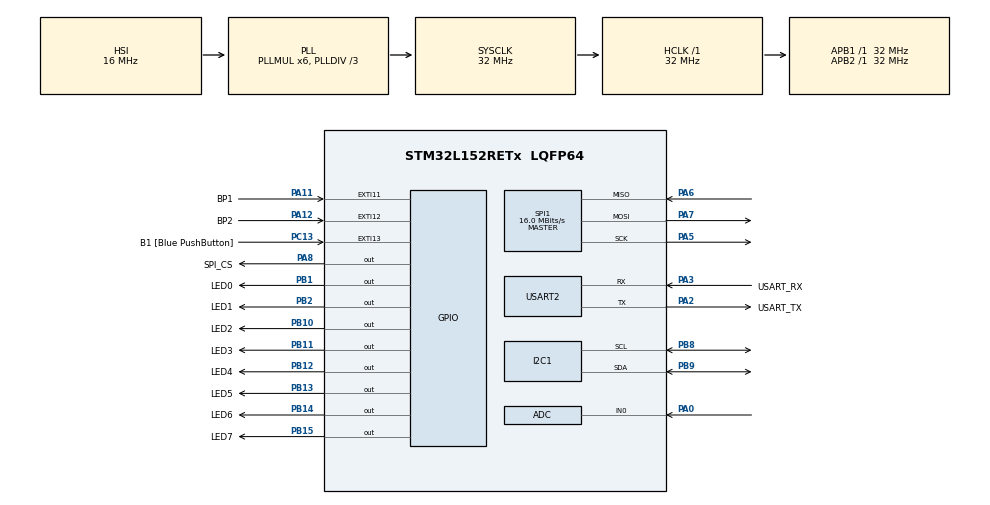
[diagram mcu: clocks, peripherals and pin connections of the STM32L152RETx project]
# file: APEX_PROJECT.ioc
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ADC.Channel-0\#ChannelRegularConversion=ADC_CHANNEL_0
ADC.EOCSelection=ADC_EOC_SINGLE_CONV
ADC.NbrOfConversionFlag=1
ADC.Rank-0\#ChannelRegularConversion=1
ADC.SamplingTime-0\#ChannelRegularConversion=ADC_SAMPLETIME_4CYCLES
Mcu.Family=STM32L1
Mcu.Name=STM32L152RETx
Mcu.Package=LQFP64
NVIC.EXTI15_10_IRQn=true\:0\:0\:false\:false\:true\:true\:true\:true
NVIC.PriorityGroup=NVIC_PRIORITYGROUP_0
NVIC.TIM6_IRQn=true\:0\:0\:false\:false\:true\:true\:true\:true
PA0-WKUP1.Mode=IN0
PA0-WKUP1.Signal=ADC_IN0
PA11.GPIO_Label=BP1
PA11.GPIO_ModeDefaultEXTI=GPIO_MODE_IT_RISING
PA11.Signal=GPXTI11
PA12.GPIO_Label=BP2
PA12.GPIO_ModeDefaultEXTI=GPIO_MODE_IT_RISING
PA12.GPIO_PuPd=GPIO_NOPULL
PA12.Signal=GPXTI12
PA13.GPIO_Label=TMS
PA13.Mode=Serial_Wire
PA13.Signal=SYS_JTMS-SWDIO
PA14.GPIO_Label=TCK
PA14.Mode=Serial_Wire
PA14.Signal=SYS_JTCK-SWCLK
PA2.GPIO_Label=USART_TX
PA2.Mode=Asynchronous
PA2.Signal=USART2_TX
PA3.GPIO_Label=USART_RX
PA3.Mode=Asynchronous
PA3.Signal=USART2_RX
PA5.Mode=Full_Duplex_Master
PA5.Signal=SPI1_SCK
PA6.Mode=Full_Duplex_Master
PA6.Signal=SPI1_MISO
PA7.Mode=Full_Duplex_Master
PA7.Signal=SPI1_MOSI
PA8.GPIO_Label=SPI_CS
PA8.GPIO_PuPd=GPIO_PULLUP
PA8.Signal=GPIO_Output
PB1.GPIO_Label=LED0
PB1.Signal=GPIO_Output
PB10.GPIO_Label=LED2
PB10.Signal=GPIO_Output
PB11.GPIO_Label=LED3
PB11.Signal=GPIO_Output
PB12.GPIO_Label=LED4
PB12.Signal=GPIO_Output
PB13.GPIO_Label=LED5
PB13.Signal=GPIO_Output
PB14.GPIO_Label=LED6
PB14.Signal=GPIO_Output
PB15.GPIO_Label=LED7
PB15.Signal=GPIO_Output
PB2.GPIO_Label=LED1
PB2.Signal=GPIO_Output
PB3.GPIO_Label=SWO
PB3.Signal=SYS_JTDO-TRACESWO
PB8.Mode=I2C
PB8.Signal=I2C1_SCL
PB9.Mode=I2C
PB9.Signal=I2C1_SDA
PC13-WKUP2.GPIO_Label=B1 [Blue PushButton]
PC13-WKUP2.GPIO_PuPd=GPIO_PULLUP
PC13-WKUP2.Signal=GPXTI13
PC14-OSC32_IN.Mode=LSE-External-Oscillator
PC14-OSC32_IN.Signal=RCC_OSC32_IN
PC15-OSC32_OUT.Mode=LSE-External-Oscillator
PC15-OSC32_OUT.Signal=RCC_OSC32_OUT
PH0-OSC_IN.Signal=RCC_OSC_IN
PH1-OSC_OUT.Signal=RCC_OSC_OUT
ProjectManager.HeapSize=0x200
ProjectManager.StackSize=0x400
ProjectManager.TargetToolchain=STM32CubeIDE
RCC.48MHZClocksFreq_Value=48000000
RCC.AHBFreq_Value=32000000
RCC.APB1Freq_Value=32000000
RCC.APB1TimFreq_Value=32000000
RCC.APB2Freq_Value=32000000
RCC.APB2TimFreq_Value=32000000
RCC.HCLKFreq_Value=32000000
RCC.HSE_VALUE=8000000
RCC.HSI_VALUE=16000000
RCC.MSI_VALUE=2097000
RCC.PLLDIV=RCC_PLL_DIV3
RCC.PLLMUL=RCC_PLL_MUL6
RCC.RTCClockSelectionVirtual=RCC_RTCCLKSOURCE_LSE
RCC.SYSCLKFreq_VALUE=32000000
RCC.SYSCLKSource=RCC_SYSCLKSOURCE_PLLCLK
RCC.USBOutput=48000000
RCC.VCOOutputFreq_Value=96000000
SPI1.CalculateBaudRate=16.0 MBits/s
SPI1.Direction=SPI_DIRECTION_2LINES
SPI1.Mode=SPI_MODE_MASTER
SPI1.VirtualType=VM_MASTER
TIM6.Period=999
TIM6.Prescaler=31
USART2.VirtualMode=VM_ASYNC
VP_TIM6_VS_ClockSourceINT.Mode=Enable_Timer
board=NUCLEO-L152RE

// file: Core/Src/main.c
/* USER CODE BEGIN Header */
/**
  ******************************************************************************
  * @file           : main.c
  * @brief          : Main program body
  ******************************************************************************
  * @attention
  *
  * Copyright (c) 2026 STMicroelectronics.
  * All rights reserved.
  *
  * This software is licensed under terms that can be found in the LICENSE file
  * in the root directory of this software component.
  * If no LICENSE file comes with this software, it is provided AS-IS.
  *
  ******************************************************************************
  */
/* USER CODE END Header */
#include "main.h"

/* USER CODE BEGIN Includes */
#include <stdio.h>
#include <math.h>
#include "max7219_Yncrea2.h"

/* USER CODE END Includes */

/* USER CODE BEGIN PD */
/* LSM6DSO (accelerometre) - adresse I2C 8 bits (deja decalee pour HAL) */
#define LSM6DSO_ADDR      0xD6
#define LSM6DSO_CTRL1_XL  0x10   /* config accelero (ODR + plage) */
#define LSM6DSO_CTRL3_C   0x12   /* auto-increment registres */
#define LSM6DSO_OUTX_L_A  0x28   /* debut des 6 octets X/Y/Z */

/* HTS221 (humidite) - 2eme capteur du shield IKS01A3, adresse I2C 8 bits */
#define HTS221_ADDR       0xBE
#define HTS221_CTRL_REG1  0x20   /* power-on + ODR */
#define HTS221_H0_RH_X2   0x30   /* calibration : humidites de reference */
#define HTS221_H1_RH_X2   0x31
#define HTS221_H0_OUT_L   0x36   /* calibration : sorties brutes de reference */
#define HTS221_H1_OUT_L   0x3A
#define HTS221_HUM_OUT_L  0x28   /* mesure d'humidite brute */

/* Seuils de detection du saut (en mg, 1000 mg = 1 g) */
#define FREEFALL_MG     300   /* en dessous : chute libre (decollage) */
#define IMPACT_MG      1800   /* au dessus : impact (atterrissage) */
#define AIRTIME_MIN_MS   80   /* temps de vol minimum accepte */
#define AIRTIME_MAX_MS 2000   /* temps de vol maximum accepte */
#define GRAVITY_MG     1000
#define FF_CONFIRM_MS    15   /* duree mini sous le seuil pour valider la chute libre */
#define GOAL_MAX_CM      99   /* objectif quand le potentiometre est a fond */
/* USER CODE END PD */

ADC_HandleTypeDef hadc;

I2C_HandleTypeDef hi2c1;

SPI_HandleTypeDef hspi1;

TIM_HandleTypeDef htim6;

UART_HandleTypeDef huart2;

/* USER CODE BEGIN PV */
volatile AppState_t state   = APP_SETUP;   /* on demarre par le reglage de l'objectif */
volatile uint32_t   t_start = 0;           /* date du decollage (en ms, via tim_ms) */
volatile uint32_t   hang_time = 0;         /* temps passe en l'air (ms) */
uint16_t            goal_cm  = 20;         /* objectif de saut en cm (regle au potentiometre) */

/* USER CODE END PV */

void SystemClock_Config(void);
static void MX_GPIO_Init(void);
static void MX_ADC_Init(void);
static void MX_I2C1_Init(void);
static void MX_SPI1_Init(void);
static void MX_TIM6_Init(void);
static void MX_USART2_UART_Init(void);

/* USER CODE BEGIN 0 */
int __io_putchar(int ch) {
    HAL_UART_Transmit(&huart2, (uint8_t*)&ch, 1, 10);
    return ch;
}

/* Debloque le bus I2C si un capteur est reste coince apres un reset
   (SDA bloque a 0) : on envoie des coups d'horloge sur SCL jusqu'a ce
   qu'il relache la ligne, puis on reinitialise le peripherique I2C. */
static void I2C_BusRecover(void) {
    GPIO_InitTypeDef g = {0};
    __HAL_RCC_GPIOB_CLK_ENABLE();

    HAL_I2C_DeInit(&hi2c1);

    /* PB8/PB9 repris en GPIO open-drain le temps de la manoeuvre */
    g.Pin   = GPIO_PIN_8 | GPIO_PIN_9;
    g.Mode  = GPIO_MODE_OUTPUT_OD;
    g.Pull  = GPIO_PULLUP;
    g.Speed = GPIO_SPEED_FREQ_LOW;
    HAL_GPIO_Init(GPIOB, &g);
    HAL_GPIO_WritePin(GPIOB, GPIO_PIN_8 | GPIO_PIN_9, GPIO_PIN_SET);
    HAL_Delay(1);

    int sda = HAL_GPIO_ReadPin(GPIOB, GPIO_PIN_9);

    if (sda == 0) {
        /* jusqu'a 9 impulsions d'horloge pour liberer SDA */
        for (int i = 0; i < 9; i++) {
            HAL_GPIO_WritePin(GPIOB, GPIO_PIN_8, GPIO_PIN_RESET);
            HAL_Delay(1);
            HAL_GPIO_WritePin(GPIOB, GPIO_PIN_8, GPIO_PIN_SET);
            HAL_Delay(1);
            if (HAL_GPIO_ReadPin(GPIOB, GPIO_PIN_9) == 1) break;
        }
        /* condition de STOP pour finir proprement */
        HAL_GPIO_WritePin(GPIOB, GPIO_PIN_9, GPIO_PIN_RESET);
        HAL_Delay(1);
        HAL_GPIO_WritePin(GPIOB, GPIO_PIN_8, GPIO_PIN_SET);
        HAL_Delay(1);
        HAL_GPIO_WritePin(GPIOB, GPIO_PIN_9, GPIO_PIN_SET);
        HAL_Delay(1);
    }

    MX_I2C1_Init();
}

volatile uint32_t tim_ms = 0;

void HAL_TIM_PeriodElapsedCallback(TIM_HandleTypeDef *htim) {
    if (htim->Instance == TIM6) {
        tim_ms++;
    }
}

/* --- LSM6DSO (accelerometre) --- */
static void LSM6DSO_Write(uint8_t reg, uint8_t val) {
    uint8_t buf[2] = {reg, val};
    HAL_I2C_Master_Transmit(&hi2c1, LSM6DSO_ADDR, buf, 2, 10);
}

/* Lit les 3 axes d'un coup (6 octets, auto-increment active dans CTRL3_C) */
static void LSM6DSO_ReadAccel(int16_t *ax, int16_t *ay, int16_t *az) {
    uint8_t reg = LSM6DSO_OUTX_L_A;
    uint8_t d[6];
    HAL_I2C_Master_Transmit(&hi2c1, LSM6DSO_ADDR, &reg, 1, 10);
    HAL_I2C_Master_Receive(&hi2c1, LSM6DSO_ADDR, d, 6, 10);
    *ax = (int16_t)(d[1] << 8 | d[0]);
    *ay = (int16_t)(d[3] << 8 | d[2]);
    *az = (int16_t)(d[5] << 8 | d[4]);
}

/* --- HTS221 (humidite) --- */
static int16_t hts_h0_out = 0, hts_h1_out = 0;   /* calibration usine */
static uint8_t hts_h0_rh  = 0, hts_h1_rh  = 0;

static void HTS221_Write(uint8_t reg, uint8_t val) {
    uint8_t buf[2] = {reg, val};
    HAL_I2C_Master_Transmit(&hi2c1, HTS221_ADDR, buf, 2, 10);
}

static uint8_t HTS221_Read(uint8_t reg) {
    uint8_t val = 0;
    HAL_I2C_Master_Transmit(&hi2c1, HTS221_ADDR, &reg, 1, 10);
    HAL_I2C_Master_Receive(&hi2c1, HTS221_ADDR, &val, 1, 10);
    return val;
}

/* Coefficients de calibration, lus une fois au demarrage */
static void HTS221_ReadCalibration(void) {
    hts_h0_rh = HTS221_Read(HTS221_H0_RH_X2) >> 1;
    hts_h1_rh = HTS221_Read(HTS221_H1_RH_X2) >> 1;
    uint8_t lo, hi;
    lo = HTS221_Read(HTS221_H0_OUT_L);
    hi = HTS221_Read(HTS221_H0_OUT_L + 1);
    hts_h0_out = (int16_t)(hi << 8 | lo);
    lo = HTS221_Read(HTS221_H1_OUT_L);
    hi = HTS221_Read(HTS221_H1_OUT_L + 1);
    hts_h1_out = (int16_t)(hi << 8 | lo);
}

static void HTS221_Init(void) {
    HTS221_Write(HTS221_CTRL_REG1, 0x81);   // power-on, ODR 1 Hz
    HTS221_ReadCalibration();
}

/* Humidite relative en % (interpolation lineaire avec la calibration) */
static uint8_t HTS221_ReadHumidity(void) {
    uint8_t lo = HTS221_Read(HTS221_HUM_OUT_L);
    uint8_t hi = HTS221_Read(HTS221_HUM_OUT_L + 1);
    int16_t h_raw = (int16_t)(hi << 8 | lo);
    int32_t num = (int32_t)(hts_h1_rh - hts_h0_rh) * (h_raw - hts_h0_out);
    int32_t den = hts_h1_out - hts_h0_out;
    int32_t hum = hts_h0_rh + (den != 0 ? num / den : 0);
    if (hum < 0)   hum = 0;
    if (hum > 100) hum = 100;
    return (uint8_t)hum;
}

/* Temps en ms affiche au format S.mmm (digit 1 = a gauche sur notre module) */
static void Display_Time(uint32_t ms) {
    uint32_t sec  = ms / 1000;
    uint32_t frac = ms % 1000;

    MAX7219_DisplayCharDP(1, '0' + (sec % 10), 1);   // secondes + point
    MAX7219_DisplayChar(2, '0' + (frac / 100) % 10);
    MAX7219_DisplayChar(3, '0' + (frac / 10) % 10);
    MAX7219_DisplayChar(4, '0' + (frac % 10));
}

/* Hauteur en cm, format XX.X (ou XXX si >= 100 cm) */
static void Display_Height(float h_cm) {
    MAX7219_Clear();
    if (h_cm < 0.0f) h_cm = 0.0f;

    if (h_cm >= 100.0f) {
        uint32_t cm = (uint32_t)(h_cm + 0.5f);
        if (cm > 999) cm = 999;
        MAX7219_DisplayChar(2, '0' + (cm / 100) % 10);
        MAX7219_DisplayChar(3, '0' + (cm / 10)  % 10);
        MAX7219_DisplayChar(4, '0' +  cm        % 10);
    } else {
        uint32_t t = (uint32_t)(h_cm * 10.0f + 0.5f);   // en dixiemes de cm
        MAX7219_DisplayChar  (2, '0' + (t / 100) % 10);
        MAX7219_DisplayCharDP(3, '0' + (t / 10)  % 10, 1);  // point decimal
        MAX7219_DisplayChar  (4, '0' +  t        % 10);
    }
}

/* "----" pendant le vol (ecrit une seule fois, pas de SPI en l'air) */
static void Display_Dashes(void) {
    MAX7219_DisplayChar(1, '-');
    MAX7219_DisplayChar(2, '-');
    MAX7219_DisplayChar(3, '-');
    MAX7219_DisplayChar(4, '-');
}

/* Objectif en cm, avec un tiret a gauche pour reperer le mode reglage */
static void Display_Goal(uint16_t cm) {
    if (cm > 999) cm = 999;
    MAX7219_DisplayChar(1, '-');
    MAX7219_DisplayChar(2, cm >= 100 ? '0' + (cm/100)%10 : ' ');
    MAX7219_DisplayChar(3, cm >= 10  ? '0' + (cm/10)%10  : ' ');
    MAX7219_DisplayChar(4, '0' + cm % 10);
}

/* Humidite : "H 45" */
static void Display_Humidity(uint8_t h) {
    MAX7219_Clear();
    MAX7219_DisplayChar(1, 'H');
    MAX7219_DisplayChar(2, ' ');
    MAX7219_DisplayChar(3, h >= 10 ? '0' + (h / 10) % 10 : ' ');
    MAX7219_DisplayChar(4, '0' + h % 10);
}

/* Potentiometre RV1 sur PA0 : 0-4095 ramene a 0-GOAL_MAX_CM cm */
static uint16_t ADC_ReadGoal_cm(void) {
    HAL_ADC_Start(&hadc);
    HAL_ADC_PollForConversion(&hadc, 100);
    uint32_t raw = HAL_ADC_GetValue(&hadc);
    HAL_ADC_Stop(&hadc);
    return (uint16_t)((raw * GOAL_MAX_CM) / 4095UL);
}

/* Vibre n fois (200 ms ON / 150 ms OFF) */
static void Motor_Vibrate(uint8_t n) {
    for (uint8_t i = 0; i < n; i++) {
        HAL_GPIO_WritePin(MOTOR_GPIO_Port, MOTOR_Pin, GPIO_PIN_SET);
        HAL_Delay(200);
        HAL_GPIO_WritePin(MOTOR_GPIO_Port, MOTOR_Pin, GPIO_PIN_RESET);
        HAL_Delay(150);
    }
}

/* Bouton actif bas : renvoie 1 une seule fois par appui */
static uint8_t Button_Pressed(GPIO_TypeDef *port, uint16_t pin, uint8_t *was_down) {
    uint8_t down = (HAL_GPIO_ReadPin(port, pin) == GPIO_PIN_RESET);
    uint8_t edge = (down && !*was_down);
    *was_down = down;
    return edge;
}
/* USER CODE END 0 */

int main(void)
{

  /* MCU Configuration--------------------------------------------------------*/

  /* Reset of all peripherals, Initializes the Flash interface and the Systick. */
  HAL_Init();

  /* Configure the system clock */
  SystemClock_Config();

  /* Initialize all configured peripherals */
  MX_GPIO_Init();
  MX_ADC_Init();
  MX_I2C1_Init();
  MX_SPI1_Init();
  MX_TIM6_Init();
  MX_USART2_UART_Init();
  /* USER CODE BEGIN 2 */
  HAL_Delay(100);

  I2C_BusRecover();                        // au cas ou un capteur soit reste bloque
  LSM6DSO_Write(LSM6DSO_CTRL1_XL, 0x60);   // ODR 416 Hz, +/-2g
  LSM6DSO_Write(LSM6DSO_CTRL3_C, 0x04);    // auto-increment
  HTS221_Init();

  MAX7219_Init();
  Display_Time(0);
  HAL_TIM_Base_Start_IT(&htim6);           // tick 1 ms

  printf("\r\n=== APEX ===\r\n");
  /* USER CODE END 2 */

  /* Infinite loop */
  while (1)
  {

    /* USER CODE BEGIN 3 */
	  static AppState_t prev_state = APP_IDLE;

	  /* Lecture accelero a chaque tour (sans attente, sinon on rate le pic
	     d'impact qui est tres bref) puis norme du vecteur : |a| = sqrt(x2+y2+z2).
	     Au repos |a| vaut environ 1000 mg (1 g). */
	  static uint32_t mag = GRAVITY_MG;
	  static uint32_t ff_start = 0;   // debut de la chute libre (0 = pas en chute libre)
	  {
	      int16_t ax, ay, az;
	      LSM6DSO_ReadAccel(&ax, &ay, &az);
	      int32_t mx = (int32_t)ax * 61 / 1000;   // 0.061 mg/LSB en +/-2g
	      int32_t my = (int32_t)ay * 61 / 1000;
	      int32_t mz = (int32_t)az * 61 / 1000;
	      mag = (uint32_t)sqrtf((float)(mx*mx + my*my + mz*mz));
	  }

	  /* on garde l'etat traite a ce tour pour ne pas rater le code d'entree
	     d'un etat si `state` change au milieu du switch */
	  AppState_t handling = state;

	  switch (state) {

	  case APP_SETUP: {
	      static uint8_t  b3_down = 0, b4_down = 0;
	      static uint16_t last_goal = 0xFFFF;
	      if (prev_state != APP_SETUP) {
	          printf("Regle l'objectif avec RV2, puis valide (BTN3/BTN4).\r\n");
	          b3_down = 0; b4_down = 0; last_goal = 0xFFFF;
	      }
	      goal_cm = ADC_ReadGoal_cm();
	      if (goal_cm != last_goal) {   // maj ecran seulement si la valeur change
	          Display_Goal(goal_cm);
	          last_goal = goal_cm;
	      }
	      if (Button_Pressed(BTN3_GPIO_Port, BTN3_Pin, &b3_down) ||
	          Button_Pressed(BTN4_GPIO_Port, BTN4_Pin, &b4_down)) {
	          printf("Objectif regle : %u cm.\r\n", goal_cm);
	          state = APP_IDLE;
	      }
	      break;
	  }

	  case APP_IDLE:
	      if (prev_state != APP_IDLE) {
	          printf("Pret - saute ! (objectif %u cm)\r\n", goal_cm);
	          Display_Time(0);
	          ff_start = 0;
	      }
	      /* Decollage : |a| doit rester sous le seuil de chute libre pendant
	         FF_CONFIRM_MS pour eviter les faux departs sur un pic de bruit.
	         Le chrono part de ff_start, le vrai debut de la chute libre. */
	      if (mag < FREEFALL_MG) {
	          if (ff_start == 0) ff_start = tim_ms;
	          if (tim_ms - ff_start >= FF_CONFIRM_MS) {
	              t_start = ff_start;
	              state = APP_RUNNING;
	              printf("Decollage !\r\n");
	          }
	      } else {
	          ff_start = 0;
	      }
	      break;

	  case APP_RUNNING:
	      if (prev_state != APP_RUNNING) {
	          Display_Dashes();      // affichage fige "----", zero SPI pendant le vol
	      }
	      {
	          uint32_t elapsed = tim_ms - t_start;
	          /* Atterrissage = pic d'acceleration */
	          if (mag > IMPACT_MG) {
	              uint32_t air = tim_ms - t_start;
	              if (air >= AIRTIME_MIN_MS && air <= AIRTIME_MAX_MS) {
	                  hang_time = air;
	                  state = APP_RESULT;
	                  printf("Atterrissage : %lu ms en l'air\r\n", (unsigned long)air);
	              } else {
	                  /* trop court ou trop long : faux declenchement */
	                  printf("Saut ignore (%lu ms hors plage)\r\n", (unsigned long)air);
	                  state = APP_IDLE;
	              }
	          } else if (elapsed > AIRTIME_MAX_MS) {
	              printf("Aucun impact detecte, annule.\r\n");
	              state = APP_IDLE;
	          }
	      }
	      break;

	  case APP_RESULT:
	      if (prev_state != APP_RESULT) {
	          /* h = g*t^2/8 : montee = descente = t/2, donc
	             h = 1/2 * g * (t/2)^2. Ici en cm avec t en ms. */
	          float t_s  = hang_time / 1000.0f;
	          float h_cm = 9.81f * t_s * t_s / 8.0f * 100.0f;
	          uint16_t h_int = (uint16_t)(h_cm + 0.5f);
	          uint8_t  hum   = HTS221_ReadHumidity();
	          printf("Saut : %d.%d cm  (%lu ms)  |  objectif %u cm  |  humidite %u%%\r\n",
	                 (int)h_cm, (int)(h_cm * 10.0f + 0.5f) % 10,
	                 (unsigned long)hang_time, goal_cm, hum);

	          Display_Height(h_cm);
	          if (h_int >= goal_cm) {
	              printf("Objectif atteint ! %u cm (>= %u)\r\n", h_int, goal_cm);
	              Motor_Vibrate(3);   // victoire
	          } else {
	              printf("Rate : manque %u cm\r\n", (unsigned)(goal_cm - h_int));
	              HAL_Delay(1500);
	          }
	          /* on alterne hauteur / temps / humidite, et on finit sur la hauteur */
	          Display_Time(hang_time);  HAL_Delay(2000);
	          Display_Humidity(hum);    HAL_Delay(2000);
	          Display_Height(h_cm);     HAL_Delay(2000);
	          state = APP_SETUP;   // retour au reglage pour le saut suivant
	      }
	      break;
	  }

	  prev_state = handling;
  }
  /* USER CODE END 3 */
}

void SystemClock_Config(void)
{
  RCC_OscInitTypeDef RCC_OscInitStruct = {0};
  RCC_ClkInitTypeDef RCC_ClkInitStruct = {0};

  /** Configure the main internal regulator output voltage
  */
  __HAL_PWR_VOLTAGESCALING_CONFIG(PWR_REGULATOR_VOLTAGE_SCALE1);

  /** Initializes the RCC Oscillators according to the specified parameters
  * in the RCC_OscInitTypeDef structure.
  */
  RCC_OscInitStruct.OscillatorType = RCC_OSCILLATORTYPE_HSI;
  RCC_OscInitStruct.HSIState = RCC_HSI_ON;
  RCC_OscInitStruct.HSICalibrationValue = RCC_HSICALIBRATION_DEFAULT;
  RCC_OscInitStruct.PLL.PLLState = RCC_PLL_ON;
  RCC_OscInitStruct.PLL.PLLSource = RCC_PLLSOURCE_HSI;
  RCC_OscInitStruct.PLL.PLLMUL = RCC_PLL_MUL6;
  RCC_OscInitStruct.PLL.PLLDIV = RCC_PLL_DIV3;
  if (HAL_RCC_OscConfig(&RCC_OscInitStruct) != HAL_OK)
  {
    Error_Handler();
  }

  /** Initializes the CPU, AHB and APB buses clocks
  */
  RCC_ClkInitStruct.ClockType = RCC_CLOCKTYPE_HCLK|RCC_CLOCKTYPE_SYSCLK
                              |RCC_CLOCKTYPE_PCLK1|RCC_CLOCKTYPE_PCLK2;
  RCC_ClkInitStruct.SYSCLKSource = RCC_SYSCLKSOURCE_PLLCLK;
  RCC_ClkInitStruct.AHBCLKDivider = RCC_SYSCLK_DIV1;
  RCC_ClkInitStruct.APB1CLKDivider = RCC_HCLK_DIV1;
  RCC_ClkInitStruct.APB2CLKDivider = RCC_HCLK_DIV1;

  if (HAL_RCC_ClockConfig(&RCC_ClkInitStruct, FLASH_LATENCY_1) != HAL_OK)
  {
    Error_Handler();
  }
}

static void MX_ADC_Init(void)
{

  ADC_ChannelConfTypeDef sConfig = {0};

  /** Configure the global features of the ADC (Clock, Resolution, Data Alignment and number of conversion)
  */
  hadc.Instance = ADC1;
  hadc.Init.ClockPrescaler = ADC_CLOCK_ASYNC_DIV1;
  hadc.Init.Resolution = ADC_RESOLUTION_12B;
  hadc.Init.DataAlign = ADC_DATAALIGN_RIGHT;
  hadc.Init.ScanConvMode = ADC_SCAN_DISABLE;
  hadc.Init.EOCSelection = ADC_EOC_SINGLE_CONV;
  hadc.Init.LowPowerAutoWait = ADC_AUTOWAIT_DISABLE;
  hadc.Init.LowPowerAutoPowerOff = ADC_AUTOPOWEROFF_DISABLE;
  hadc.Init.ChannelsBank = ADC_CHANNELS_BANK_A;
  hadc.Init.ContinuousConvMode = DISABLE;
  hadc.Init.NbrOfConversion = 1;
  hadc.Init.DiscontinuousConvMode = DISABLE;
  hadc.Init.ExternalTrigConv = ADC_SOFTWARE_START;
  hadc.Init.ExternalTrigConvEdge = ADC_EXTERNALTRIGCONVEDGE_NONE;
  hadc.Init.DMAContinuousRequests = DISABLE;
  if (HAL_ADC_Init(&hadc) != HAL_OK)
  {
    Error_Handler();
  }

  /** Configure for the selected ADC regular channel its corresponding rank in the sequencer and its sample time.
  */
  sConfig.Channel = ADC_CHANNEL_0;
  sConfig.Rank = ADC_REGULAR_RANK_1;
  sConfig.SamplingTime = ADC_SAMPLETIME_4CYCLES;
  if (HAL_ADC_ConfigChannel(&hadc, &sConfig) != HAL_OK)
  {
    Error_Handler();
  }

}

static void MX_I2C1_Init(void)
{

  hi2c1.Instance = I2C1;
  hi2c1.Init.ClockSpeed = 400000;
  hi2c1.Init.DutyCycle = I2C_DUTYCYCLE_2;
  hi2c1.Init.OwnAddress1 = 0;
  hi2c1.Init.AddressingMode = I2C_ADDRESSINGMODE_7BIT;
  hi2c1.Init.DualAddressMode = I2C_DUALADDRESS_DISABLE;
  hi2c1.Init.OwnAddress2 = 0;
  hi2c1.Init.GeneralCallMode = I2C_GENERALCALL_DISABLE;
  hi2c1.Init.NoStretchMode = I2C_NOSTRETCH_DISABLE;
  if (HAL_I2C_Init(&hi2c1) != HAL_OK)
  {
    Error_Handler();
  }

}

static void MX_SPI1_Init(void)
{

  /* SPI1 parameter configuration*/
  hspi1.Instance = SPI1;
  hspi1.Init.Mode = SPI_MODE_MASTER;
  hspi1.Init.Direction = SPI_DIRECTION_2LINES;
  hspi1.Init.DataSize = SPI_DATASIZE_8BIT;
  hspi1.Init.CLKPolarity = SPI_POLARITY_LOW;
  hspi1.Init.CLKPhase = SPI_PHASE_1EDGE;
  hspi1.Init.NSS = SPI_NSS_SOFT;
  hspi1.Init.BaudRatePrescaler = SPI_BAUDRATEPRESCALER_2;
  hspi1.Init.FirstBit = SPI_FIRSTBIT_MSB;
  hspi1.Init.TIMode = SPI_TIMODE_DISABLE;
  hspi1.Init.CRCCalculation = SPI_CRCCALCULATION_DISABLE;
  hspi1.Init.CRCPolynomial = 10;
  if (HAL_SPI_Init(&hspi1) != HAL_OK)
  {
    Error_Handler();
  }

}

static void MX_TIM6_Init(void)
{

  TIM_MasterConfigTypeDef sMasterConfig = {0};

  htim6.Instance = TIM6;
  htim6.Init.Prescaler = 31;      /* 32 MHz / (31+1) = 1 MHz */
  htim6.Init.CounterMode = TIM_COUNTERMODE_UP;
  htim6.Init.Period = 999;        /* 1 MHz / (999+1) = 1 kHz -> IRQ toutes les 1 ms */
  htim6.Init.AutoReloadPreload = TIM_AUTORELOAD_PRELOAD_DISABLE;
  if (HAL_TIM_Base_Init(&htim6) != HAL_OK)
  {
    Error_Handler();
  }
  sMasterConfig.MasterOutputTrigger = TIM_TRGO_RESET;
  sMasterConfig.MasterSlaveMode = TIM_MASTERSLAVEMODE_DISABLE;
  if (HAL_TIMEx_MasterConfigSynchronization(&htim6, &sMasterConfig) != HAL_OK)
  {
    Error_Handler();
  }

}

static void MX_USART2_UART_Init(void)
{

  huart2.Instance = USART2;
  huart2.Init.BaudRate = 115200;
  huart2.Init.WordLength = UART_WORDLENGTH_8B;
  huart2.Init.StopBits = UART_STOPBITS_1;
  huart2.Init.Parity = UART_PARITY_NONE;
  huart2.Init.Mode = UART_MODE_TX_RX;
  huart2.Init.HwFlowCtl = UART_HWCONTROL_NONE;
  huart2.Init.OverSampling = UART_OVERSAMPLING_16;
  if (HAL_UART_Init(&huart2) != HAL_OK)
  {
    Error_Handler();
  }

}

static void MX_GPIO_Init(void)
{
  GPIO_InitTypeDef GPIO_InitStruct = {0};

  /* GPIO Ports Clock Enable */
  __HAL_RCC_GPIOC_CLK_ENABLE();
  __HAL_RCC_GPIOH_CLK_ENABLE();
  __HAL_RCC_GPIOA_CLK_ENABLE();
  __HAL_RCC_GPIOB_CLK_ENABLE();

  /*Configure GPIO pin Output Level */
  HAL_GPIO_WritePin(GPIOB, LED0_Pin|LED1_Pin|LED2_Pin|LED3_Pin
                          |LED4_Pin|LED5_Pin|LED6_Pin|LED7_Pin, GPIO_PIN_RESET);

  /*Configure GPIO pin Output Level */
  HAL_GPIO_WritePin(SPI_CS_GPIO_Port, SPI_CS_Pin, GPIO_PIN_RESET);

  /*Configure GPIO pin : B1_Pin */
  GPIO_InitStruct.Pin = B1_Pin;
  GPIO_InitStruct.Mode = GPIO_MODE_IT_RISING;
  GPIO_InitStruct.Pull = GPIO_PULLUP;
  HAL_GPIO_Init(B1_GPIO_Port, &GPIO_InitStruct);

  /*Configure GPIO pins : LED0_Pin LED1_Pin LED2_Pin LED3_Pin
                           LED4_Pin LED5_Pin LED6_Pin LED7_Pin */
  GPIO_InitStruct.Pin = LED0_Pin|LED1_Pin|LED2_Pin|LED3_Pin
                          |LED4_Pin|LED5_Pin|LED6_Pin|LED7_Pin;
  GPIO_InitStruct.Mode = GPIO_MODE_OUTPUT_PP;
  GPIO_InitStruct.Pull = GPIO_NOPULL;
  GPIO_InitStruct.Speed = GPIO_SPEED_FREQ_LOW;
  HAL_GPIO_Init(GPIOB, &GPIO_InitStruct);

  /*Configure GPIO pin : SPI_CS_Pin */
  GPIO_InitStruct.Pin = SPI_CS_Pin;
  GPIO_InitStruct.Mode = GPIO_MODE_OUTPUT_PP;
  GPIO_InitStruct.Pull = GPIO_PULLUP;
  GPIO_InitStruct.Speed = GPIO_SPEED_FREQ_LOW;
  HAL_GPIO_Init(SPI_CS_GPIO_Port, &GPIO_InitStruct);

  /*Configure GPIO pins : BP1_Pin BP2_Pin */
  GPIO_InitStruct.Pin = BP1_Pin|BP2_Pin;
  GPIO_InitStruct.Mode = GPIO_MODE_IT_RISING;
  GPIO_InitStruct.Pull = GPIO_NOPULL;
  HAL_GPIO_Init(GPIOA, &GPIO_InitStruct);

  /* EXTI interrupt init*/
  HAL_NVIC_SetPriority(EXTI15_10_IRQn, 0, 0);
  HAL_NVIC_EnableIRQ(EXTI15_10_IRQn);

  /* USER CODE BEGIN MX_GPIO_Init_2 */
  /* Boutons BP1/BP2 : actifs haut sur cette carte -> front MONTANT, pas de pull
     interne (pull-down externe present). Aligne sur le TP2_INTERRUPTIONS. */
  GPIO_InitStruct.Pin  = BP1_Pin | BP2_Pin;
  GPIO_InitStruct.Mode = GPIO_MODE_IT_RISING;
  GPIO_InitStruct.Pull = GPIO_NOPULL;
  HAL_GPIO_Init(GPIOA, &GPIO_InitStruct);

  /* Moteur de vibration sur PB4 (sortie push-pull, repos = 0) */
  HAL_GPIO_WritePin(MOTOR_GPIO_Port, MOTOR_Pin, GPIO_PIN_RESET);
  GPIO_InitStruct.Pin   = MOTOR_Pin;
  GPIO_InitStruct.Mode  = GPIO_MODE_OUTPUT_PP;
  GPIO_InitStruct.Pull  = GPIO_NOPULL;
  GPIO_InitStruct.Speed = GPIO_SPEED_FREQ_LOW;
  HAL_GPIO_Init(MOTOR_GPIO_Port, &GPIO_InitStruct);

  /* Boutons BTN3 (PC6) / BTN4 (PC5) : entrees ACTIVES BAS, pull-up interne
     (repos = 1, appui = 0), lues par polling dans l'etat SETUP. */
  GPIO_InitStruct.Pin  = BTN3_Pin | BTN4_Pin;
  GPIO_InitStruct.Mode = GPIO_MODE_INPUT;
  GPIO_InitStruct.Pull = GPIO_PULLUP;
  HAL_GPIO_Init(GPIOC, &GPIO_InitStruct);

  /* USER CODE END MX_GPIO_Init_2 */
}

void Error_Handler(void)
{
  __disable_irq();
  while (1)
  {
  }
}
